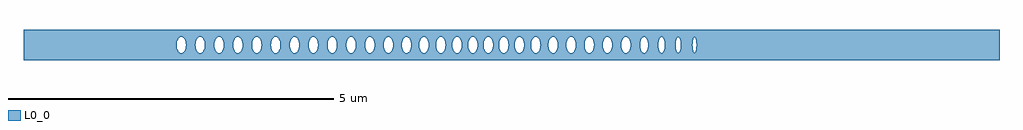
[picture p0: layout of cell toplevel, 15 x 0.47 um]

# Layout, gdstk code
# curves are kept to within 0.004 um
import gdstk
lib = gdstk.Library(unit=1e-6, precision=1e-09)
def P(c, l, *ps):  # polygons
    for p in ps: c.add(gdstk.Polygon(p, *l))
L0_0 = (0, 0)

toplevel = lib.new_cell('toplevel')
P(toplevel, L0_0, [(-4.856,0.016),(-4.846,0.068),(-4.823,0.108),(-4.823,0.234),(-7.5,0.234),(-7.5,-0.008),(-5.147,-0.008),(-5.142,0.047),(-5.124,0.093),(-5.101,0.119),(-5.075,0.128),(-5.048,0.119),(-5.028,0.098),(-5.013,0.068),(-5.002,0.008),(-5.007,-0.047),(-5.025,-0.093),(-5.048,-0.119),(-5.075,-0.128),(-5.101,-0.119),(-5.121,-0.098),(-5.136,-0.068),(-5.147,-0.008),(-7.5,-0.008),(-7.5,-0.234),(-4.823,-0.234),(-4.823,-0.108),(-4.852,-0.047)],
  [(-4.815,0.115),(-4.785,0.128),(-4.758,0.119),(-4.746,0.108),(-4.723,0.068),(-4.712,-0.008),(-4.723,-0.068),(-4.75,-0.112),(-4.785,-0.128),(-4.811,-0.119),(-4.823,-0.108),(-4.823,-0.234),(-4.477,-0.234),(-4.477,-0.123),(-4.508,-0.125),(-4.541,-0.098),(-4.556,-0.068),(-4.567,-0.008),(-4.562,0.047),(-4.541,0.098),(-4.508,0.125),(-4.477,0.123),(-4.477,0.234),(-4.823,0.234),(-4.823,0.108)],
  [(-4.477,0.234),(-4.477,0.123),(-4.456,0.108),(-4.436,0.075),(-4.422,0.008),(-4.433,-0.068),(-4.448,-0.098),(-4.477,-0.123),(-4.477,-0.234),(-4.136,-0.234),(-4.136,-0.039),(-4.158,-0.098),(-4.178,-0.119),(-4.205,-0.128),(-4.231,-0.119),(-4.251,-0.098),(-4.266,-0.068),(-4.277,-0.008),(-4.275,0.032),(-4.263,0.075),(-4.243,0.108),(-4.218,0.125),(-4.191,0.125),(-4.166,0.108),(-4.146,0.075),(-4.136,0.039),(-4.136,0.234)],
  [(-4.133,-0.024),(-4.136,-0.234),(-3.693,-0.234),(-3.693,0.234),(-4.136,0.234),(-4.132,-0.008),(-3.987,-0.008),(-3.982,0.047),(-3.964,0.093),(-3.941,0.119),(-3.915,0.128),(-3.888,0.119),(-3.868,0.098),(-3.853,0.068),(-3.842,0.008),(-3.847,-0.047),(-3.865,-0.093),(-3.888,-0.119),(-3.915,-0.128),(-3.941,-0.119),(-3.961,-0.098),(-3.976,-0.068),(-3.987,-0.008),(-4.132,-0.008)],
  [(-3.553,-0.024),(-3.563,-0.068),(-3.578,-0.098),(-3.598,-0.119),(-3.625,-0.128),(-3.651,-0.119),(-3.671,-0.098),(-3.693,-0.039),(-3.693,-0.234),(-3.348,-0.234),(-3.348,-0.125),(-3.369,-0.112),(-3.384,-0.093),(-3.402,-0.047),(-3.407,-0.008),(-3.405,0.032),(-3.393,0.075),(-3.373,0.108),(-3.348,0.125),(-3.348,0.234),(-3.693,0.234),(-3.693,0.039),(-3.683,0.075),(-3.659,0.112),(-3.625,0.128),(-3.602,0.121),(-3.578,0.098),(-3.563,0.068),(-3.553,0.024)],
  [(-3.339,0.127),(-3.308,0.119),(-3.285,0.093),(-3.267,0.047),(-3.262,-0.008),(-3.273,-0.068),(-3.288,-0.098),(-3.312,-0.121),(-3.335,-0.128),(-3.348,-0.125),(-3.348,-0.234),(-3.014,-0.234),(-3.014,-0.115),(-3.045,-0.128),(-3.08,-0.112),(-3.106,-0.068),(-3.117,-0.008),(-3.106,0.068),(-3.08,0.112),(-3.045,0.128),(-3.014,0.115),(-3.014,0.234),(-3.348,0.234),(-3.348,0.125)],
  [(-3.014,0.234),(-3.014,0.115),(-2.983,0.068),(-2.972,-0.008),(-2.827,-0.008),(-2.822,0.047),(-2.804,0.093),(-2.781,0.119),(-2.755,0.128),(-2.728,0.119),(-2.708,0.098),(-2.691,0.061),(-2.682,0.008),(-2.687,-0.047),(-2.705,-0.093),(-2.728,-0.119),(-2.755,-0.128),(-2.781,-0.119),(-2.801,-0.098),(-2.816,-0.068),(-2.827,-0.008),(-2.972,-0.008),(-2.983,-0.068),(-3.014,-0.115),(-3.014,-0.234),(-2.537,-0.234),(-2.537,0.234)],
  [(-2.536,0.024),(-2.526,0.068),(-2.511,0.098),(-2.491,0.119),(-2.46,0.127),(-2.438,0.119),(-2.415,0.093),(-2.397,0.047),(-2.392,-0.008),(-2.397,-0.047),(-2.415,-0.093),(-2.438,-0.119),(-2.465,-0.128),(-2.491,-0.119),(-2.511,-0.098),(-2.526,-0.068),(-2.537,-0.008),(-2.537,-0.234),(-2.222,-0.234),(-2.222,-0.098),(-2.237,-0.068),(-2.248,-0.016),(-2.245,0.039),(-2.222,0.098),(-2.222,0.234),(-2.537,0.234)],
  [(-2.107,-0.039),(-2.126,-0.093),(-2.149,-0.119),(-2.176,-0.128),(-2.189,-0.125),(-2.222,-0.098),(-2.222,-0.234),(-1.9,-0.234),(-1.9,-0.126),(-1.918,-0.119),(-1.941,-0.093),(-1.955,-0.061),(-1.963,-0.016),(-1.961,0.032),(-1.95,0.075),(-1.93,0.108),(-1.9,0.126),(-1.9,0.234),(-2.222,0.234),(-2.222,0.098),(-2.202,0.119),(-2.176,0.128),(-2.149,0.119),(-2.137,0.108),(-2.108,0.047),(-2.103,0)],
  [(-1.891,0.128),(-1.864,0.119),(-1.838,0.087),(-1.822,0.039),(-1.819,-0.016),(-1.832,-0.075),(-1.852,-0.108),(-1.878,-0.125),(-1.9,-0.126),(-1.9,-0.234),(-1.564,-0.234),(-1.564,-0.093),(-1.579,-0.112),(-1.6,-0.125),(-1.614,-0.128),(-1.64,-0.119),(-1.66,-0.098),(-1.675,-0.068),(-1.686,-0.008),(-1.675,0.068),(-1.66,0.098),(-1.64,0.119),(-1.614,0.128),(-1.6,0.125),(-1.579,0.112),(-1.564,0.093),(-1.564,0.234),(-1.9,0.234),(-1.9,0.126)],
  [(-1.542,-0.016),(-1.546,-0.047),(-1.564,-0.093),(-1.564,-0.234),(-1.275,-0.234),(-1.275,-0.032),(-1.289,-0.081),(-1.306,-0.108),(-1.332,-0.125),(-1.359,-0.125),(-1.384,-0.108),(-1.404,-0.075),(-1.418,0),(-1.404,0.075),(-1.384,0.108),(-1.359,0.125),(-1.332,0.125),(-1.306,0.108),(-1.289,0.081),(-1.275,0.032),(-1.275,0.234),(-1.564,0.234),(-1.564,0.093),(-1.546,0.047)],
  [(-1.275,-0.032),(-1.275,-0.234),(-0.895,-0.234),(-0.895,-0.075),(-0.909,-0.008),(-0.906,0.039),(-0.895,0.074),(-0.895,0.234),(-1.275,0.234),(-1.273,-0.008),(-1.159,-0.008),(-1.154,0.047),(-1.136,0.093),(-1.113,0.119),(-1.086,0.128),(-1.06,0.119),(-1.04,0.098),(-1.025,0.068),(-1.014,0.008),(-1.017,-0.039),(-1.037,-0.093),(-1.06,-0.119),(-1.086,-0.128),(-1.113,-0.119),(-1.136,-0.093),(-1.154,-0.047),(-1.159,-0.008),(-1.273,-0.008)],
  [(-0.767,-0.032),(-0.787,-0.093),(-0.802,-0.112),(-0.823,-0.125),(-0.837,-0.128),(-0.863,-0.119),(-0.895,-0.075),(-0.895,-0.234),(-0.617,-0.234),(-0.617,-0.121),(-0.637,-0.103),(-0.653,-0.075),(-0.667,0),(-0.653,0.075),(-0.637,0.103),(-0.617,0.121),(-0.617,0.234),(-0.895,0.234),(-0.895,0.075),(-0.863,0.119),(-0.837,0.128),(-0.81,0.119),(-0.787,0.093),(-0.769,0.047),(-0.764,0.008)],
  [(-0.608,0.125),(-0.594,0.128),(-0.568,0.119),(-0.541,0.087),(-0.525,0.039),(-0.522,-0.016),(-0.533,-0.068),(-0.555,-0.108),(-0.594,-0.128),(-0.617,-0.121),(-0.617,-0.234),(-0.338,-0.234),(-0.338,-0.123),(-0.369,-0.125),(-0.395,-0.108),(-0.417,-0.068),(-0.428,-0.016),(-0.425,0.039),(-0.402,0.098),(-0.369,0.125),(-0.338,0.123),(-0.338,0.234),(-0.617,0.234),(-0.617,0.121)],
  [(-0.338,0.234),(-0.338,0.123),(-0.317,0.108),(-0.297,0.075),(-0.283,0),(-0.297,-0.075),(-0.317,-0.108),(-0.338,-0.123),(-0.338,-0.234),(-0.06,-0.234),(-0.06,-0.075),(-0.092,-0.119),(-0.119,-0.128),(-0.145,-0.119),(-0.165,-0.098),(-0.18,-0.068),(-0.191,-0.008),(-0.18,0.068),(-0.165,0.098),(-0.145,0.119),(-0.119,0.128),(-0.092,0.119),(-0.06,0.075),(-0.06,0.234)],
  [(-0.048,-0.032),(-0.06,-0.075),(-0.06,-0.234),(0.315,-0.234),(0.315,-0.075),(0.301,-0.016),(0.304,0.039),(0.315,0.074),(0.315,0.234),(-0.06,0.234),(-0.06,0.074),(-0.048,0.032),(-0.047,-0.016),(0.05,-0.016),(0.052,0.032),(0.063,0.075),(0.087,0.112),(0.122,0.128),(0.149,0.119),(0.172,0.093),(0.194,0.016),(0.192,-0.032),(0.181,-0.075),(0.157,-0.112),(0.122,-0.128),(0.095,-0.119),(0.072,-0.093),(0.058,-0.061),(0.05,-0.016),(-0.047,-0.016)],
  [(0.442,-0.039),(0.423,-0.093),(0.408,-0.112),(0.387,-0.125),(0.373,-0.128),(0.346,-0.119),(0.315,-0.076),(0.315,-0.234),(0.6,-0.234),(0.6,-0.108),(0.58,-0.075),(0.567,-0.016),(0.573,0.054),(0.6,0.108),(0.6,0.234),(0.315,0.234),(0.315,0.075),(0.334,0.108),(0.36,0.125),(0.387,0.125),(0.408,0.112),(0.423,0.093),(0.439,0.054),(0.446,0)],
  [(0.608,0.115),(0.639,0.128),(0.666,0.119),(0.682,0.103),(0.705,0.054),(0.711,-0.016),(0.698,-0.075),(0.666,-0.119),(0.639,-0.128),(0.612,-0.119),(0.6,-0.108),(0.6,-0.234),(0.934,-0.234),(0.934,-0.123),(0.902,-0.125),(0.869,-0.098),(0.854,-0.068),(0.843,-0.008),(0.848,0.047),(0.869,0.098),(0.902,0.125),(0.934,0.123),(0.934,0.234),(0.6,0.234),(0.6,0.108)],
  [(0.987,-0.024),(0.965,-0.093),(0.934,-0.123),(0.934,-0.234),(1.259,-0.234),(1.259,-0.061),(1.245,-0.093),(1.222,-0.119),(1.195,-0.128),(1.182,-0.125),(1.16,-0.112),(1.146,-0.093),(1.128,-0.047),(1.123,-0.008),(1.134,0.068),(1.149,0.098),(1.169,0.119),(1.195,0.128),(1.222,0.119),(1.245,0.093),(1.259,0.061),(1.259,0.234),(0.934,0.234),(0.934,0.123),(0.962,0.098),(0.977,0.068),(0.987,0.024)],
  [(1.264,-0.039),(1.259,-0.061),(1.259,-0.234),(1.686,-0.234),(1.686,0.234),(1.259,0.234),(1.259,0.061),(1.267,-0.016),(1.403,-0.016),(1.406,0.039),(1.419,0.081),(1.44,0.112),(1.475,0.128),(1.502,0.119),(1.525,0.093),(1.541,0.054),(1.548,0),(1.541,-0.054),(1.525,-0.093),(1.502,-0.119),(1.475,-0.128),(1.449,-0.119),(1.429,-0.098),(1.414,-0.068),(1.403,-0.016),(1.267,-0.016)],
  [(1.827,-0.039),(1.814,-0.081),(1.797,-0.108),(1.785,-0.119),(1.758,-0.128),(1.731,-0.119),(1.708,-0.093),(1.694,-0.061),(1.686,-0.016),(1.686,-0.234),(1.986,-0.234),(1.986,-0.067),(1.976,-0.016),(1.986,0.066),(1.986,0.234),(1.686,0.234),(1.686,0.016),(1.694,0.061),(1.715,0.103),(1.744,0.125),(1.771,0.125),(1.797,0.108),(1.819,0.068),(1.83,0.016)],
  [(1.988,0.074),(2.001,0.102),(2.023,0.122),(2.046,0.125),(2.065,0.114),(2.093,0.061),(2.1,-0.016),(2.093,-0.061),(2.081,-0.092),(2.054,-0.122),(2.03,-0.125),(2.015,-0.117),(1.995,-0.092),(1.986,-0.068),(1.986,-0.234),(2.282,-0.234),(2.282,-0.108),(2.264,-0.073),(2.255,-0.023),(2.258,0.046),(2.264,0.073),(2.282,0.108),(2.282,0.234),(1.986,0.234)],
  [(2.356,-0.038),(2.345,-0.085),(2.323,-0.118),(2.303,-0.124),(2.282,-0.108),(2.282,-0.234),(2.581,-0.234),(2.581,-0.11),(2.561,-0.122),(2.543,-0.107),(2.531,-0.078),(2.522,-0.023),(2.524,0.038),(2.539,0.099),(2.561,0.122),(2.581,0.11),(2.581,0.234),(2.282,0.234),(2.282,0.108),(2.297,0.122),(2.31,0.124),(2.323,0.118),(2.34,0.095),(2.358,0.023)],
  [(2.604,-0.03),(2.596,-0.078),(2.581,-0.11),(2.581,-0.234),(7.5,-0.234),(7.5,0.234),(2.581,0.234),(2.581,0.11),(2.599,0.065),(2.605,-0.015),(2.781,-0.015),(2.788,0.076),(2.799,0.109),(2.811,0.12),(2.819,0.118),(2.83,0.101),(2.843,0.037),(2.838,-0.071),(2.83,-0.101),(2.815,-0.12),(2.801,-0.112),(2.794,-0.097),(2.781,-0.015),(2.605,-0.015)])

lib.write_gds('toplevel.gds')
